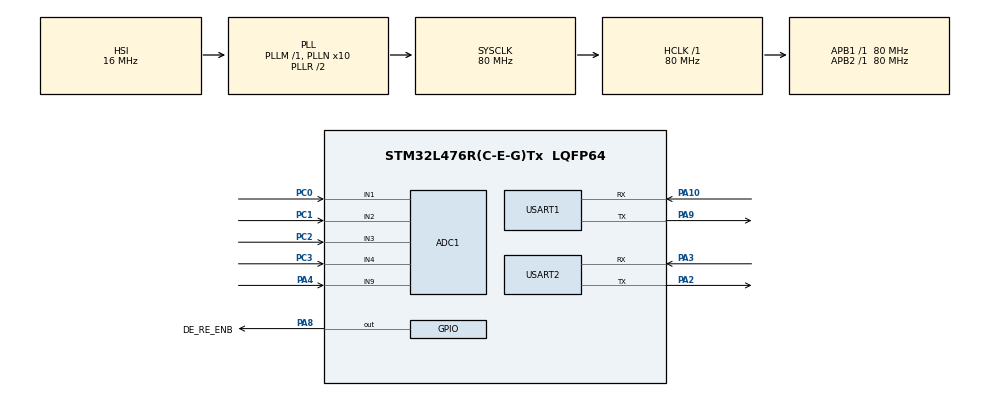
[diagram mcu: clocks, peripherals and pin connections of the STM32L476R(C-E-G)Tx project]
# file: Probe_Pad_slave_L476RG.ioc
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ADC1.Channel-0\#ChannelRegularConversion=ADC_CHANNEL_1
ADC1.Channel-1\#ChannelRegularConversion=ADC_CHANNEL_2
ADC1.Channel-2\#ChannelRegularConversion=ADC_CHANNEL_3
ADC1.Channel-3\#ChannelRegularConversion=ADC_CHANNEL_4
ADC1.Channel-4\#ChannelRegularConversion=ADC_CHANNEL_9
ADC1.NbrOfConversion=5
ADC1.NbrOfConversionFlag=1
ADC1.OffsetNumber-0\#ChannelRegularConversion=ADC_OFFSET_NONE
ADC1.OffsetNumber-1\#ChannelRegularConversion=ADC_OFFSET_NONE
ADC1.OffsetNumber-2\#ChannelRegularConversion=ADC_OFFSET_NONE
ADC1.OffsetNumber-3\#ChannelRegularConversion=ADC_OFFSET_NONE
ADC1.OffsetNumber-4\#ChannelRegularConversion=ADC_OFFSET_NONE
ADC1.Rank-0\#ChannelRegularConversion=1
ADC1.Rank-1\#ChannelRegularConversion=2
ADC1.Rank-2\#ChannelRegularConversion=3
ADC1.Rank-3\#ChannelRegularConversion=4
ADC1.Rank-4\#ChannelRegularConversion=5
ADC1.SamplingTime-0\#ChannelRegularConversion=ADC_SAMPLETIME_24CYCLES_5
ADC1.SamplingTime-1\#ChannelRegularConversion=ADC_SAMPLETIME_24CYCLES_5
ADC1.SamplingTime-2\#ChannelRegularConversion=ADC_SAMPLETIME_24CYCLES_5
ADC1.SamplingTime-3\#ChannelRegularConversion=ADC_SAMPLETIME_24CYCLES_5
ADC1.SamplingTime-4\#ChannelRegularConversion=ADC_SAMPLETIME_24CYCLES_5
ADC1.master=1
Mcu.Family=STM32L4
Mcu.Name=STM32L476R(C-E-G)Tx
Mcu.Package=LQFP64
NVIC.PriorityGroup=NVIC_PRIORITYGROUP_4
NVIC.USART1_IRQn=true\:0\:0\:false\:false\:true\:true\:true\:true
NVIC.USART2_IRQn=true\:0\:0\:false\:false\:true\:true\:true\:true
PA10.Mode=Asynchronous
PA10.Signal=USART1_RX
PA13\ (JTMS-SWDIO).Mode=Serial_Wire
PA13\ (JTMS-SWDIO).Signal=SYS_JTMS-SWDIO
PA14\ (JTCK-SWCLK).Mode=Serial_Wire
PA14\ (JTCK-SWCLK).Signal=SYS_JTCK-SWCLK
PA2.Mode=Asynchronous
PA2.Signal=USART2_TX
PA3.Mode=Asynchronous
PA3.Signal=USART2_RX
PA4.Signal=ADCx_IN9
PA8.GPIO_Label=DE_RE_ENB
PA8.Signal=GPIO_Output
PA9.Mode=Asynchronous
PA9.Signal=USART1_TX
PC0.Signal=ADCx_IN1
PC1.Signal=ADCx_IN2
PC2.Signal=ADCx_IN3
PC3.Signal=ADCx_IN4
PH0-OSC_IN\ (PH0).Mode=HSE-External-Oscillator
PH0-OSC_IN\ (PH0).Signal=RCC_OSC_IN
PH1-OSC_OUT\ (PH1).Mode=HSE-External-Oscillator
PH1-OSC_OUT\ (PH1).Signal=RCC_OSC_OUT
ProjectManager.HeapSize=0x200
ProjectManager.StackSize=0x400
ProjectManager.TargetToolchain=STM32CubeIDE
RCC.ADCFreq_Value=64000000
RCC.AHBFreq_Value=80000000
RCC.APB1Freq_Value=80000000
RCC.APB1TimFreq_Value=80000000
RCC.APB2Freq_Value=80000000
RCC.APB2TimFreq_Value=80000000
RCC.CortexFreq_Value=80000000
RCC.HCLKFreq_Value=80000000
RCC.HSE_VALUE=8000000
RCC.HSI_VALUE=16000000
RCC.LSE_VALUE=32768
RCC.MSI_VALUE=4000000
RCC.PLLN=10
RCC.PLLSourceVirtual=RCC_PLLSOURCE_HSI
RCC.PREFETCH_ENABLE=1
RCC.SYSCLKFreq_VALUE=80000000
RCC.SYSCLKSource=RCC_SYSCLKSOURCE_PLLCLK
RCC.USBFreq_Value=64000000
RCC.VCOOutputFreq_Value=160000000
SH.ADCx_IN1.0=ADC1_IN1,IN1-Single-Ended
SH.ADCx_IN2.0=ADC1_IN2,IN2-Single-Ended
SH.ADCx_IN3.0=ADC1_IN3,IN3-Single-Ended
SH.ADCx_IN4.0=ADC1_IN4,IN4-Single-Ended
SH.ADCx_IN9.0=ADC1_IN9,IN9-Single-Ended
USART1.VirtualMode-Asynchronous=VM_ASYNC
USART2.VirtualMode-Asynchronous=VM_ASYNC
board=NUCLEO-L476RG

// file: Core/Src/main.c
/* USER CODE BEGIN Header */
/**
  ******************************************************************************
  * @file           : main.c
  * @brief          : Main program body
  ******************************************************************************
  * @attention
  *
  * Copyright (c) 2024 STMicroelectronics.
  * All rights reserved.
  *
  * This software is licensed under terms that can be found in the LICENSE file
  * in the root directory of this software component.
  * If no LICENSE file comes with this software, it is provided AS-IS.
  *
  ******************************************************************************
  */
/* USER CODE END Header */
#include "main.h"

/* USER CODE BEGIN Includes */

/*
 * USART - Slave
 * PA9  ->	USART1_Tx
 * PA10 ->	USART1_Rx
 * PA8	->	DE_RE_ENB
 *
 * For Analog connections
 * PC0	->	ADC1_IN1	->	JOYSTICK_X1
 * PC1	->	ADC1_IN2	->	JOYSTICK_Y1
 * PC2	->	ADC1_IN3	->	JOYSTICK_X2
 * PC3	->	ADC1_IN4	->	JOYSTICK_Y2
 * PA4	->	ADC1_IN9	->	POTENTIOMETER
 *
 * For debugging and Serial monitor printing
 * PA2	->	USART2_Tx
 * PA3	->	USART2_Rx
 */

#include "stdio.h"
#include "stdint.h"
#include "string.h"
#include "stdbool.h"

#define FRAME_SIZE 13  // Expected frame length
#define NUM_CHANNELS 5  // Number of ADC channels
/* USER CODE END Includes */

/* USER CODE BEGIN PTD */

uint8_t uartByte;              // Temporary byte buffer
uint32_t byteCount = 0;        // Counter to count bytes between 0xAA and 0x55
uint8_t isReceiving = 0;       // Flag to indicate whether we are receiving valid data
uint8_t imuBuffer[FRAME_SIZE]; // Buffer to store the frame (if needed)
uint8_t frameIndex = 0;        // Index for the current byte in the buffer
char uart_buffer[100];         // Buffer to hold the formatted string for transmission

uint8_t imuData[13];			// Buffer to copy received imu data
uint8_t loadcellData[7];		// Buffer to copy received loadcell data

// Declare variables to store quaternion components
float w;
float x;
float y;
float z;

/* USER CODE END PTD */

ADC_HandleTypeDef hadc1;

UART_HandleTypeDef huart1;
UART_HandleTypeDef huart2;

/* USER CODE BEGIN PV */
uint16_t JoystickX1 = 0;
uint16_t JoystickY1 = 0;
uint16_t Pot = 0;
uint16_t JoystickX2 = 0;
uint16_t JoystickY2 = 0;

//uint16_t rawValues[5];
char uartBuffer[100];  // Buffer to send UART data
/* USER CODE END PV */

void SystemClock_Config(void);
static void MX_GPIO_Init(void);
static void MX_USART2_UART_Init(void);
static void MX_USART1_UART_Init(void);
static void MX_ADC1_Init(void);
/* USER CODE BEGIN PFP */

void processModbusFrame(void);
void processReceivedData(uint8_t *frame, uint8_t frameLength);
uint16_t calculateCRC(uint8_t *buffer, uint16_t length);	// CRC calculation function to validate data integrity

// Function to start UART receive process
//void UART_StartReceive(void);

/* USER CODE END PFP */

/* USER CODE BEGIN 0 */

/**
 * @brief Redirects printf output to the ITM (for debugging)
 * @param file: the file handle (unused)
 * @param ptr: pointer to the string to write
 * @param len: length of the string to write
 * @return number of characters written
 */
int _write(int file, char *ptr, int len)
{
    int i = 0;
    for (i = 0; i < len; i++)
        ITM_SendChar((*ptr++));		// Sends each character to ITM for debugging

    return len;
}

/**
 * @brief Calculates the CRC value for data integrity verification
 * @param data: pointer to the data buffer
 * @param length: length of the data
 * @return computed CRC value
 */

uint16_t calculateCRC(uint8_t *data, uint16_t length)
{
    uint16_t crc = 0xFFFF; // Initial CRC value

    for (uint16_t i = 0; i < length; i++)
    {
        crc ^= data[i]; // XOR byte into the least significant byte of CRC

        for (uint8_t j = 0; j < 8; j++)
        {
            if (crc & 0x0001) // If the LSB is set
            {
                crc >>= 1;       // Shift right
                crc ^= 0xA001;   // Apply the polynomial
            }
            else
            {
                crc >>= 1; // Just shift right
            }
        }
    }

    return crc; // Return the CRC value
}

void processImuData()
{
	// Extract Quaternion Data
		int16_t modbusRegisters[4];
		for (int i = 0; i < 4; i++)
		{
			modbusRegisters[i] = (int16_t)((imuData[2 + (i * 2)] << 8) | imuData[3 + (i * 2)]);
		}

	// Validate CRC
		uint16_t calculatedCRC = calculateCRC(imuData, 10);
		uint16_t receivedCRC = (imuData[10]) | (imuData[11] << 8);

	if (calculatedCRC != receivedCRC)
	{
		snprintf(uart_buffer, sizeof(uart_buffer), "CRC mismatch: Expected 0x%04X, Got 0x%04X\n", calculatedCRC, receivedCRC);
		HAL_UART_Transmit(&huart2, (uint8_t*)uart_buffer, strlen(uart_buffer), HAL_MAX_DELAY);
		return;
	}

	 // Convert Quaternion Data to Floats
		float w = modbusRegisters[0] / 30000.0f;
		float x = modbusRegisters[1] / 30000.0f;
		float y = modbusRegisters[2] / 30000.0f;
		float z = modbusRegisters[3] / 30000.0f;

	// Debug Output Quaternion Data
		snprintf(uart_buffer, sizeof(uart_buffer), "%.4f,%.4f,%.4f,%.4f\r\n", w, x, y, z);
		HAL_UART_Transmit(&huart2, (uint8_t*)uart_buffer, strlen(uart_buffer), HAL_MAX_DELAY);
}

void processLoadcellData()
{
	// Extract Load Cell Data
		int16_t loadCellValue = 0;
		loadCellValue = (loadcellData[2] << 8) | loadcellData[3];

	// Validate CRC
		uint16_t calculatedCRC = calculateCRC(loadcellData, 4);
		uint16_t receivedCRC = (loadcellData[4]) | (loadcellData[5] << 8);

		if (calculatedCRC != receivedCRC)
		{
			snprintf(uart_buffer, sizeof(uart_buffer), "CRC mismatch: Expected 0x%04X, Got 0x%04X\n", calculatedCRC, receivedCRC);
			HAL_UART_Transmit(&huart2, (uint8_t*)uart_buffer, strlen(uart_buffer), HAL_MAX_DELAY);
			return;
		}

	// Debug Output Load Cell Data
		snprintf(uart_buffer, sizeof(uart_buffer), "Received Load Cell Data: %d\n", loadCellValue);
		HAL_UART_Transmit(&huart2, (uint8_t*)uart_buffer, strlen(uart_buffer), HAL_MAX_DELAY);
}

/**
 * @brief UART receive callback function (interrupt-based)
 * @param huart: pointer to UART handle
 */
void HAL_UART_RxCpltCallback(UART_HandleTypeDef *huart)
{
    if (huart->Instance == USART1)  // Check if the interrupt is from UART1
    {
        if (!isReceiving)
        {
            // Looking for start byte 0xAA
            if (uartByte == 0xAA)
            {
                isReceiving = 1;  // Start storing the frame
                frameIndex = 0;   // Reset buffer index
                imuBuffer[frameIndex++] = uartByte;  // Store 0xAA as the start byte
                byteCount = 1;
            }
        }
        else
        {
            // Store the incoming byte
            imuBuffer[frameIndex++] = uartByte;
            byteCount++;

            // If we received the end byte 0x55 and the frame length is correct
            if (uartByte == 0x55) 		//	if (uartByte == 0x55 && frameIndex == FRAME_SIZE)
            {

                if(byteCount == 13 && imuBuffer[1] == 0x01)
                {
                	memcpy(imuData, imuBuffer,sizeof(imuBuffer));
                }

                if(byteCount == 7 && imuBuffer[1] == 0x02)
				{
                	memcpy(loadcellData, imuBuffer, 7);
				}

                memset(imuBuffer, 0, sizeof(imuBuffer)); // Reset the entire buffer to 0

                // Reset receiving state for the next frame
                isReceiving = 0;
                frameIndex = 0;
                byteCount = 0;

            }
            // If we exceed the frame size without receiving 0x55, reset
            else if (frameIndex >= FRAME_SIZE)
            {
                isReceiving = 0;  // Reset receiving flag
                frameIndex = 0;   // Reset index
            }
        }
+
        // Restart UART reception for the next byte
        HAL_UART_Receive_IT(&huart1, &uartByte, 1);
    }
}

ADC_ChannelConfTypeDef sConfig;
ADC_ChannelConfTypeDef sConfig = {0};
ADC_MultiModeTypeDef multimode = {0};

void Read_ADC_Channel(uint32_t channel, uint16_t *result) {
	ADC_ChannelConfTypeDef sConfig = {0};
	sConfig.Channel = channel;
	sConfig.Rank = ADC_REGULAR_RANK_1;
	sConfig.SamplingTime = ADC_SAMPLETIME_24CYCLES_5;  // Use the appropriate sampling time
	sConfig.SingleDiff = ADC_SINGLE_ENDED;
	sConfig.OffsetNumber = ADC_OFFSET_NONE;
	sConfig.Offset = 0;

	if (HAL_ADC_ConfigChannel(&hadc1, &sConfig) != HAL_OK) {
		Error_Handler();
	}

	HAL_ADC_Start(&hadc1);
	if (HAL_ADC_PollForConversion(&hadc1, HAL_MAX_DELAY) == HAL_OK) {
		*result = HAL_ADC_GetValue(&hadc1);
	}
	HAL_ADC_Stop(&hadc1);
}

void processRemoteData(void)
{
	  Read_ADC_Channel(ADC_CHANNEL_1, &JoystickX1);
	  Read_ADC_Channel(ADC_CHANNEL_2, &JoystickY1);
	  Read_ADC_Channel(ADC_CHANNEL_3, &Pot);
	  Read_ADC_Channel(ADC_CHANNEL_4, &JoystickX2);
	  Read_ADC_Channel(ADC_CHANNEL_9, &JoystickY2);

	  // Format sensor values into a string
	  snprintf(uartBuffer, sizeof(uartBuffer),"X1: %d, Y1: %d, X2: %d, Y2: %d, P: %d\r\n",JoystickX1, JoystickY1, Pot, JoystickX2, JoystickY2);

	  // Send the formatted string over UART1
	  HAL_UART_Transmit(&huart2, (uint8_t*)uartBuffer, strlen(uartBuffer), HAL_MAX_DELAY);
}

/* USER CODE END 0 */

int main(void)
{

  /* MCU Configuration--------------------------------------------------------*/

  /* Reset of all peripherals, Initializes the Flash interface and the Systick. */
  HAL_Init();

  /* Configure the system clock */
  SystemClock_Config();

  /* Initialize all configured peripherals */
  MX_GPIO_Init();
  MX_USART2_UART_Init();
  MX_USART1_UART_Init();
  MX_ADC1_Init();
  /* USER CODE BEGIN 2 */
  HAL_UART_Receive_IT(&huart1, &uartByte, 1);
  /* USER CODE END 2 */

  /* Infinite loop */
  /* USER CODE BEGIN WHILE */
   while (1)
  {
	   processImuData();
	   HAL_Delay(100);
	   processLoadcellData();
	   HAL_Delay(100);
	   processRemoteData();
	   HAL_Delay(100);

    /* USER CODE END WHILE */

  }
}

void SystemClock_Config(void)
{
  RCC_OscInitTypeDef RCC_OscInitStruct = {0};
  RCC_ClkInitTypeDef RCC_ClkInitStruct = {0};

  /** Configure the main internal regulator output voltage
  */
  if (HAL_PWREx_ControlVoltageScaling(PWR_REGULATOR_VOLTAGE_SCALE1) != HAL_OK)
  {
    Error_Handler();
  }

  /** Initializes the RCC Oscillators according to the specified parameters
  * in the RCC_OscInitTypeDef structure.
  */
  RCC_OscInitStruct.OscillatorType = RCC_OSCILLATORTYPE_HSI;
  RCC_OscInitStruct.HSIState = RCC_HSI_ON;
  RCC_OscInitStruct.HSICalibrationValue = RCC_HSICALIBRATION_DEFAULT;
  RCC_OscInitStruct.PLL.PLLState = RCC_PLL_ON;
  RCC_OscInitStruct.PLL.PLLSource = RCC_PLLSOURCE_HSI;
  RCC_OscInitStruct.PLL.PLLM = 1;
  RCC_OscInitStruct.PLL.PLLN = 10;
  RCC_OscInitStruct.PLL.PLLP = RCC_PLLP_DIV7;
  RCC_OscInitStruct.PLL.PLLQ = RCC_PLLQ_DIV2;
  RCC_OscInitStruct.PLL.PLLR = RCC_PLLR_DIV2;
  if (HAL_RCC_OscConfig(&RCC_OscInitStruct) != HAL_OK)
  {
    Error_Handler();
  }

  /** Initializes the CPU, AHB and APB buses clocks
  */
  RCC_ClkInitStruct.ClockType = RCC_CLOCKTYPE_HCLK|RCC_CLOCKTYPE_SYSCLK
                              |RCC_CLOCKTYPE_PCLK1|RCC_CLOCKTYPE_PCLK2;
  RCC_ClkInitStruct.SYSCLKSource = RCC_SYSCLKSOURCE_PLLCLK;
  RCC_ClkInitStruct.AHBCLKDivider = RCC_SYSCLK_DIV1;
  RCC_ClkInitStruct.APB1CLKDivider = RCC_HCLK_DIV1;
  RCC_ClkInitStruct.APB2CLKDivider = RCC_HCLK_DIV1;

  if (HAL_RCC_ClockConfig(&RCC_ClkInitStruct, FLASH_LATENCY_4) != HAL_OK)
  {
    Error_Handler();
  }
}

static void MX_ADC1_Init(void)
{

  ADC_MultiModeTypeDef multimode = {0};
  ADC_ChannelConfTypeDef sConfig = {0};

  /** Common config
  */
  hadc1.Instance = ADC1;
  hadc1.Init.ClockPrescaler = ADC_CLOCK_ASYNC_DIV1;
  hadc1.Init.Resolution = ADC_RESOLUTION_12B;
  hadc1.Init.DataAlign = ADC_DATAALIGN_RIGHT;
  hadc1.Init.ScanConvMode = ADC_SCAN_ENABLE;
  hadc1.Init.EOCSelection = ADC_EOC_SINGLE_CONV;
  hadc1.Init.LowPowerAutoWait = DISABLE;
  hadc1.Init.ContinuousConvMode = DISABLE;
  hadc1.Init.NbrOfConversion = 5;
  hadc1.Init.DiscontinuousConvMode = DISABLE;
  hadc1.Init.ExternalTrigConv = ADC_SOFTWARE_START;
  hadc1.Init.ExternalTrigConvEdge = ADC_EXTERNALTRIGCONVEDGE_NONE;
  hadc1.Init.DMAContinuousRequests = DISABLE;
  hadc1.Init.Overrun = ADC_OVR_DATA_PRESERVED;
  hadc1.Init.OversamplingMode = DISABLE;
  if (HAL_ADC_Init(&hadc1) != HAL_OK)
  {
    Error_Handler();
  }

  /** Configure the ADC multi-mode
  */
  multimode.Mode = ADC_MODE_INDEPENDENT;
  if (HAL_ADCEx_MultiModeConfigChannel(&hadc1, &multimode) != HAL_OK)
  {
    Error_Handler();
  }

  /** Configure Regular Channel
  */
  sConfig.Channel = ADC_CHANNEL_1;
  sConfig.Rank = ADC_REGULAR_RANK_1;
  sConfig.SamplingTime = ADC_SAMPLETIME_24CYCLES_5;
  sConfig.SingleDiff = ADC_SINGLE_ENDED;
  sConfig.OffsetNumber = ADC_OFFSET_NONE;
  sConfig.Offset = 0;
  if (HAL_ADC_ConfigChannel(&hadc1, &sConfig) != HAL_OK)
  {
    Error_Handler();
  }

  /** Configure Regular Channel
  */
  sConfig.Channel = ADC_CHANNEL_2;
  sConfig.Rank = ADC_REGULAR_RANK_2;
  if (HAL_ADC_ConfigChannel(&hadc1, &sConfig) != HAL_OK)
  {
    Error_Handler();
  }

  /** Configure Regular Channel
  */
  sConfig.Channel = ADC_CHANNEL_3;
  sConfig.Rank = ADC_REGULAR_RANK_3;
  if (HAL_ADC_ConfigChannel(&hadc1, &sConfig) != HAL_OK)
  {
    Error_Handler();
  }

  /** Configure Regular Channel
  */
  sConfig.Channel = ADC_CHANNEL_4;
  sConfig.Rank = ADC_REGULAR_RANK_4;
  if (HAL_ADC_ConfigChannel(&hadc1, &sConfig) != HAL_OK)
  {
    Error_Handler();
  }

  /** Configure Regular Channel
  */
  sConfig.Channel = ADC_CHANNEL_9;
  sConfig.Rank = ADC_REGULAR_RANK_5;
  if (HAL_ADC_ConfigChannel(&hadc1, &sConfig) != HAL_OK)
  {
    Error_Handler();
  }

}

static void MX_USART1_UART_Init(void)
{

  huart1.Instance = USART1;
  huart1.Init.BaudRate = 115200;
  huart1.Init.WordLength = UART_WORDLENGTH_8B;
  huart1.Init.StopBits = UART_STOPBITS_1;
  huart1.Init.Parity = UART_PARITY_NONE;
  huart1.Init.Mode = UART_MODE_TX_RX;
  huart1.Init.HwFlowCtl = UART_HWCONTROL_NONE;
  huart1.Init.OverSampling = UART_OVERSAMPLING_16;
  huart1.Init.OneBitSampling = UART_ONE_BIT_SAMPLE_DISABLE;
  huart1.AdvancedInit.AdvFeatureInit = UART_ADVFEATURE_NO_INIT;
  if (HAL_UART_Init(&huart1) != HAL_OK)
  {
    Error_Handler();
  }

}

static void MX_USART2_UART_Init(void)
{

  huart2.Instance = USART2;
  huart2.Init.BaudRate = 115200;
  huart2.Init.WordLength = UART_WORDLENGTH_8B;
  huart2.Init.StopBits = UART_STOPBITS_1;
  huart2.Init.Parity = UART_PARITY_NONE;
  huart2.Init.Mode = UART_MODE_TX_RX;
  huart2.Init.HwFlowCtl = UART_HWCONTROL_NONE;
  huart2.Init.OverSampling = UART_OVERSAMPLING_16;
  huart2.Init.OneBitSampling = UART_ONE_BIT_SAMPLE_DISABLE;
  huart2.AdvancedInit.AdvFeatureInit = UART_ADVFEATURE_NO_INIT;
  if (HAL_UART_Init(&huart2) != HAL_OK)
  {
    Error_Handler();
  }

}

static void MX_GPIO_Init(void)
{
  GPIO_InitTypeDef GPIO_InitStruct = {0};

  /* GPIO Ports Clock Enable */
  __HAL_RCC_GPIOH_CLK_ENABLE();
  __HAL_RCC_GPIOC_CLK_ENABLE();
  __HAL_RCC_GPIOA_CLK_ENABLE();

  /*Configure GPIO pin Output Level */
  HAL_GPIO_WritePin(DE_RE_ENB_GPIO_Port, DE_RE_ENB_Pin, GPIO_PIN_RESET);

  /*Configure GPIO pin : DE_RE_ENB_Pin */
  GPIO_InitStruct.Pin = DE_RE_ENB_Pin;
  GPIO_InitStruct.Mode = GPIO_MODE_OUTPUT_PP;
  GPIO_InitStruct.Pull = GPIO_NOPULL;
  GPIO_InitStruct.Speed = GPIO_SPEED_FREQ_LOW;
  HAL_GPIO_Init(DE_RE_ENB_GPIO_Port, &GPIO_InitStruct);

}

void Error_Handler(void)
{
  __disable_irq();
  while (1)
  {
  }
}
